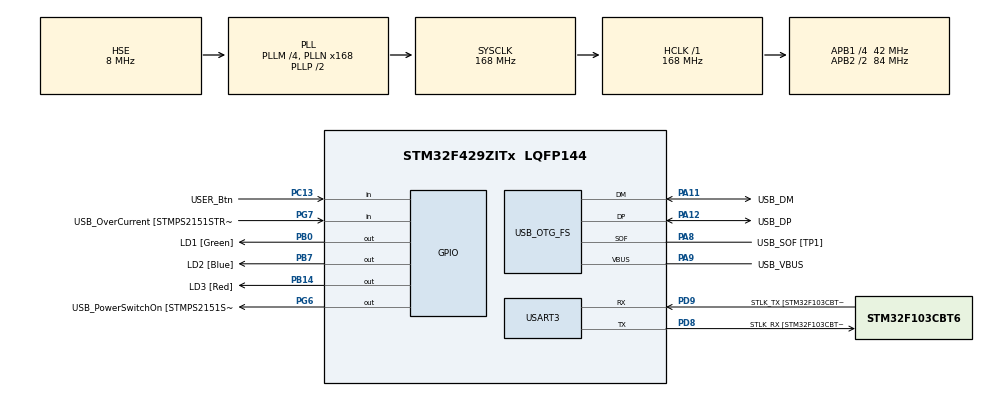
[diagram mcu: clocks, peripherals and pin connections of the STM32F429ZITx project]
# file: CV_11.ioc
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Mcu.Family=STM32F4
Mcu.Name=STM32F429ZITx
Mcu.Package=LQFP144
NVIC.OTG_FS_IRQn=true\:0\:0\:false\:false\:true\:false\:true\:true
NVIC.PriorityGroup=NVIC_PRIORITYGROUP_4
PA1.GPIO_Label=RMII_REF_CLK [LAN8742A-CZ-TR_REFCLK0]
PA1.Signal=ETH_REF_CLK
PA10.GPIO_Label=USB_ID
PA10.Signal=USB_OTG_FS_ID
PA11.GPIO_Label=USB_DM
PA11.Mode=Device_Only
PA11.Signal=USB_OTG_FS_DM
PA12.GPIO_Label=USB_DP
PA12.Mode=Device_Only
PA12.Signal=USB_OTG_FS_DP
PA13.GPIO_Label=TMS
PA13.Mode=Serial_Wire
PA13.Signal=SYS_JTMS-SWDIO
PA14.GPIO_Label=TCK
PA14.Mode=Serial_Wire
PA14.Signal=SYS_JTCK-SWCLK
PA2.GPIO_Label=RMII_MDIO [LAN8742A-CZ-TR_MDIO]
PA2.Signal=ETH_MDIO
PA7.GPIO_Label=RMII_CRS_DV [LAN8742A-CZ-TR_CRS_DV]
PA7.Signal=ETH_CRS_DV
PA8.GPIO_Label=USB_SOF [TP1]
PA8.Mode=Activate_SOF_FS
PA8.Signal=USB_OTG_FS_SOF
PA9.GPIO_Label=USB_VBUS
PA9.Mode=Activate_VBUS
PA9.Signal=USB_OTG_FS_VBUS
PB0.GPIO_Label=LD1 [Green]
PB0.Signal=GPIO_Output
PB13.GPIO_Label=RMII_TXD1 [LAN8742A-CZ-TR_TXD1]
PB13.Signal=ETH_TXD1
PB14.GPIO_Label=LD3 [Red]
PB14.Signal=GPIO_Output
PB7.GPIO_Label=LD2 [Blue]
PB7.Signal=GPIO_Output
PC1.GPIO_Label=RMII_MDC [LAN8742A-CZ-TR_MDC]
PC1.Signal=ETH_MDC
PC13.GPIO_Label=USER_Btn
PC13.Signal=GPIO_Input
PC14/OSC32_IN.Mode=LSE-External-Oscillator
PC14/OSC32_IN.Signal=RCC_OSC32_IN
PC15/OSC32_OUT.Mode=LSE-External-Oscillator
PC15/OSC32_OUT.Signal=RCC_OSC32_OUT
PC4.GPIO_Label=RMII_RXD0 [LAN8742A-CZ-TR_RXD0]
PC4.Signal=ETH_RXD0
PC5.GPIO_Label=RMII_RXD1 [LAN8742A-CZ-TR_RXD1]
PC5.Signal=ETH_RXD1
PD8.GPIO_Label=STLK_RX [STM32F103CBT6_PA3]
PD8.Mode=Asynchronous
PD8.Signal=USART3_TX
PD9.GPIO_Label=STLK_TX [STM32F103CBT6_PA2]
PD9.Mode=Asynchronous
PD9.Signal=USART3_RX
PG11.GPIO_Label=RMII_TX_EN [LAN8742A-CZ-TR_TXEN]
PG11.Signal=ETH_TX_EN
PG13.GPIO_Label=RMII_TXD0 [LAN8742A-CZ-TR_TXD0]
PG13.Signal=ETH_TXD0
PG6.GPIO_Label=USB_PowerSwitchOn [STMPS2151STR_EN]
PG6.Signal=GPIO_Output
PG7.GPIO_Label=USB_OverCurrent [STMPS2151STR_FAULT]
PG7.Signal=GPIO_Input
PH0/OSC_IN.GPIO_Label=MCO [STM32F103CBT6_PA8]
PH0/OSC_IN.Mode=HSE-External-Clock-Source
PH0/OSC_IN.Signal=RCC_OSC_IN
PH1/OSC_OUT.Mode=HSE-External-Clock-Source
PH1/OSC_OUT.Signal=RCC_OSC_OUT
ProjectManager.HeapSize=0x200
ProjectManager.StackSize=0x400
ProjectManager.TargetToolchain=STM32CubeIDE
RCC.48MHZClocksFreq_Value=48000000
RCC.AHBFreq_Value=168000000
RCC.APB1CLKDivider=RCC_HCLK_DIV4
RCC.APB1Freq_Value=42000000
RCC.APB1TimFreq_Value=84000000
RCC.APB2CLKDivider=RCC_HCLK_DIV2
RCC.APB2Freq_Value=84000000
RCC.APB2TimCLKDivider=2
RCC.APB2TimFreq_Value=168000000
RCC.CortexFreq_Value=168000000
RCC.HCLKFreq_Value=168000000
RCC.HSE_VALUE=8000000
RCC.HSI_VALUE=16000000
RCC.PLLM=4
RCC.PLLMUL=RCC_PLL_MUL9
RCC.PLLN=168
RCC.PLLQ=7
RCC.PRESCALERUSB=RCC_USBCLKSOURCE_PLL_DIV1_5
RCC.SYSCLKFreq_VALUE=168000000
RCC.SYSCLKSource=RCC_SYSCLKSOURCE_PLLCLK
RCC.SYSCLKSourceVirtual=RCC_SYSCLKSOURCE_PLLCLK
RCC.USBFreq_Value=48000000
RCC.VCOOutputFreq_Value=336000000
USART3.VirtualMode=VM_ASYNC
USB_DEVICE.CLASS_NAME_FS=HID
USB_DEVICE.VirtualMode-HID_FS=Hid
USB_DEVICE.VirtualModeFS=Hid_FS
USB_OTG_FS.VirtualMode=Device_Only
VP_USB_DEVICE_VS_USB_DEVICE_HID_FS.Mode=HID_FS
board=NUCLEO-F429ZI

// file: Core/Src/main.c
/* USER CODE BEGIN Header */
/**
  ******************************************************************************
  * @file           : main.c
  * @brief          : Main program body
  ******************************************************************************
  * @attention
  *
  * Copyright (c) 2022 STMicroelectronics.
  * All rights reserved.
  *
  * This software is licensed under terms that can be found in the LICENSE file
  * in the root directory of this software component.
  * If no LICENSE file comes with this software, it is provided AS-IS.
  *
  ******************************************************************************
  */
/* USER CODE END Header */
#include "main.h"
#include "usb_device.h"

/* USER CODE BEGIN Includes */

#include "usbd_hid.h"
#include <math.h>
#include <stdbool.h>

/* USER CODE END Includes */

/* USER CODE BEGIN PTD */

extern USBD_HandleTypeDef hUsbDeviceFS;

/* USER CODE END PTD */

/* USER CODE BEGIN PD */
#define HID_MOUSE_REPORT_DESC_SIZE 101
/* USER CODE END PD */

UART_HandleTypeDef huart3;

void SystemClock_Config(void);
static void MX_GPIO_Init(void);
static void MX_USART3_UART_Init(void);
/* USER CODE BEGIN PFP */

void step(int x, int y, bool leftBtn)
{
	uint8_t buff[4];
	if(leftBtn) {
		buff[0] = 0x01; // stiskni leve tlacitko 0x00
	} else {
		buff[0] = 0x00;
	}

	buff[1] = (int8_t)(x); // posun v ose X
	buff[2] = (int8_t)(y); // posun v ose Y
	buff[3] = 0; // bez scrollu
	USBD_HID_SendReport(&hUsbDeviceFS, buff, sizeof(buff));
	HAL_Delay(USBD_HID_GetPollingInterval(&hUsbDeviceFS));

}

void circle(uint32_t radius)
{
	for(int i = 0; i < 101; i++){
		int32_t sx = 0;
		int32_t sy = 0;
		float x = radius * cos(M_PI*i/50);
		float y = radius * sin(M_PI*i/50);
		int32_t dx = sx - x;
		int32_t dy = sy - y;
		step(dx, dy, true);
		sx = sx - dx;
		sy = sy - dy;
	}
}

void halfCircle(uint32_t radius){
	for(int i = 0; i < 101; i++){
		bool butt = false;
		if(i < 25 || i > 75){
			butt = true;
		}else{
			butt = false;
		}
		int32_t sx = 0;
		int32_t sy = 0;
		float x = radius * cos(M_PI*i/50);
		float y = radius * sin(M_PI*i/50);
		int32_t dx = sx - x;
		int32_t dy = sy - y;
		step(dx, dy, butt);
		sx = sx - dx;
		sy = sy - dy;
	}
}

__ALIGN_BEGIN static uint8_t HID_MOUSE_ReportDesc[HID_MOUSE_REPORT_DESC_SIZE] __ALIGN_END =
{
		/* 47 */
		0x05, 0x01, // USAGE_PAGE (Generic Desktop)
		0x09, 0x06, // USAGE (Keyboard)
		0xa1, 0x01, // COLLECTION (Application)
		0x85, 0x01, // REPORT_ID (1)
		0x05, 0x07, // USAGE_PAGE (Keyboard)
		0x19, 0xe0, // USAGE_MINIMUM (Keyboard LeftControl)
		0x29, 0xe7, // USAGE_MAXIMUM (Keyboard Right GUI)
		0x15, 0x00, // LOGICAL_MINIMUM (0)
		0x25, 0x01, // LOGICAL_MAXIMUM (1)
		0x75, 0x01, // REPORT_SIZE (1)
		0x95, 0x08, // REPORT_COUNT (8)
		0x81, 0x02, // INPUT (Data,Var,Abs)
		0x95, 0x01, // REPORT_COUNT (1)
		0x75, 0x08, // REPORT_SIZE (8)
		0x81, 0x03, // INPUT (Cnst,Var,Abs)
		0x95, 0x06, // REPORT_COUNT (6)
		0x75, 0x08, // REPORT_SIZE (8)
		0x15, 0x00, // LOGICAL_MINIMUM (0)
		0x25, 0x65, // LOGICAL_MAXIMUM (101)
		0x05, 0x07, // USAGE_PAGE (Keyboard)
		0x19, 0x00, // USAGE_MINIMUM (Reserved (no event indicated))
		0x29, 0x65, // USAGE_MAXIMUM (Keyboard Application)
		0x81, 0x00, // INPUT (Data,Ary,Abs)
		0xc0, // END_COLLECTION
		/* 54 */
		0x05, 0x01, // USAGE_PAGE (Generic Desktop)
		0x09, 0x02, // USAGE (Mouse)
		0xa1, 0x01, // COLLECTION (Application)
		0x09, 0x01, // USAGE (Pointer)
		0xa1, 0x00, // COLLECTION (Physical)
		0x85, 0x02, // REPORT_ID (2)
		0x05, 0x09, // USAGE_PAGE (Button)
		0x19, 0x01, // USAGE_MINIMUM (Button 1)
		0x29, 0x03, // USAGE_MAXIMUM (Button 3)
		0x15, 0x00, // LOGICAL_MINIMUM (0)
		0x25, 0x01, // LOGICAL_MAXIMUM (1)
		0x95, 0x03, // REPORT_COUNT (3)
		0x75, 0x01, // REPORT_SIZE (1)
		0x81, 0x02, // INPUT (Data,Var,Abs)
		0x95, 0x01, // REPORT_COUNT (1)
		0x75, 0x05, // REPORT_SIZE (5)
		0x81, 0x03, // INPUT (Cnst,Var,Abs)
		0x05, 0x01, // USAGE_PAGE (Generic Desktop)
		0x09, 0x30, // USAGE (X)
		0x09, 0x31, // USAGE (Y)
		0x09, 0x38, // USAGE (Wheel)
		0x15, 0x81, // LOGICAL_MINIMUM (-127)
		0x25, 0x7f, // LOGICAL_MAXIMUM (127)
		0x75, 0x08, // REPORT_SIZE (8)
		0x95, 0x03, // REPORT_COUNT (3)
		0x81, 0x06, // INPUT (Data,Var,Rel)
		0xc0, // END_COLLECTION
		0xc0, // END_COLLECTION
};

/* USER CODE END PFP */

int main(void)
{

  /* MCU Configuration--------------------------------------------------------*/

  /* Reset of all peripherals, Initializes the Flash interface and the Systick. */
  HAL_Init();

  /* Configure the system clock */
  SystemClock_Config();

  /* Initialize all configured peripherals */
  MX_GPIO_Init();
  MX_USART3_UART_Init();
  MX_USB_DEVICE_Init();

  /* Infinite loop */
  while (1)
  {

    /* USER CODE BEGIN 3 */
	  if(HAL_GPIO_ReadPin(USER_Btn_GPIO_Port, USER_Btn_Pin) == GPIO_PIN_SET) {

		  circle(10);
		  step(0, 0, false);

		  step(-25, -100, false);
		  circle(2);
		  step(0, 0, false);

		  step(70, 0, false);
		  circle(2);
		  step(0, 0, false);

		  step(-35, 0, false);
		  step(0, 0, true);
		  step(0, 25, true);
		  step(0, 0, false);

		  step(0, 50, false);
		  halfCircle(7);
		  step(0, 0, false);
	  }
  }
  /* USER CODE END 3 */
}

void SystemClock_Config(void)
{
  RCC_OscInitTypeDef RCC_OscInitStruct = {0};
  RCC_ClkInitTypeDef RCC_ClkInitStruct = {0};

  /** Configure the main internal regulator output voltage
  */
  __HAL_RCC_PWR_CLK_ENABLE();
  __HAL_PWR_VOLTAGESCALING_CONFIG(PWR_REGULATOR_VOLTAGE_SCALE1);

  /** Initializes the RCC Oscillators according to the specified parameters
  * in the RCC_OscInitTypeDef structure.
  */
  RCC_OscInitStruct.OscillatorType = RCC_OSCILLATORTYPE_HSE;
  RCC_OscInitStruct.HSEState = RCC_HSE_BYPASS;
  RCC_OscInitStruct.PLL.PLLState = RCC_PLL_ON;
  RCC_OscInitStruct.PLL.PLLSource = RCC_PLLSOURCE_HSE;
  RCC_OscInitStruct.PLL.PLLM = 4;
  RCC_OscInitStruct.PLL.PLLN = 168;
  RCC_OscInitStruct.PLL.PLLP = RCC_PLLP_DIV2;
  RCC_OscInitStruct.PLL.PLLQ = 7;
  if (HAL_RCC_OscConfig(&RCC_OscInitStruct) != HAL_OK)
  {
    Error_Handler();
  }

  /** Initializes the CPU, AHB and APB buses clocks
  */
  RCC_ClkInitStruct.ClockType = RCC_CLOCKTYPE_HCLK|RCC_CLOCKTYPE_SYSCLK
                              |RCC_CLOCKTYPE_PCLK1|RCC_CLOCKTYPE_PCLK2;
  RCC_ClkInitStruct.SYSCLKSource = RCC_SYSCLKSOURCE_PLLCLK;
  RCC_ClkInitStruct.AHBCLKDivider = RCC_SYSCLK_DIV1;
  RCC_ClkInitStruct.APB1CLKDivider = RCC_HCLK_DIV4;
  RCC_ClkInitStruct.APB2CLKDivider = RCC_HCLK_DIV2;

  if (HAL_RCC_ClockConfig(&RCC_ClkInitStruct, FLASH_LATENCY_5) != HAL_OK)
  {
    Error_Handler();
  }
}

static void MX_USART3_UART_Init(void)
{

  huart3.Instance = USART3;
  huart3.Init.BaudRate = 115200;
  huart3.Init.WordLength = UART_WORDLENGTH_8B;
  huart3.Init.StopBits = UART_STOPBITS_1;
  huart3.Init.Parity = UART_PARITY_NONE;
  huart3.Init.Mode = UART_MODE_TX_RX;
  huart3.Init.HwFlowCtl = UART_HWCONTROL_NONE;
  huart3.Init.OverSampling = UART_OVERSAMPLING_16;
  if (HAL_UART_Init(&huart3) != HAL_OK)
  {
    Error_Handler();
  }

}

static void MX_GPIO_Init(void)
{
  GPIO_InitTypeDef GPIO_InitStruct = {0};

  /* GPIO Ports Clock Enable */
  __HAL_RCC_GPIOC_CLK_ENABLE();
  __HAL_RCC_GPIOH_CLK_ENABLE();
  __HAL_RCC_GPIOA_CLK_ENABLE();
  __HAL_RCC_GPIOB_CLK_ENABLE();
  __HAL_RCC_GPIOD_CLK_ENABLE();
  __HAL_RCC_GPIOG_CLK_ENABLE();

  /*Configure GPIO pin Output Level */
  HAL_GPIO_WritePin(GPIOB, LD1_Pin|LD3_Pin|LD2_Pin, GPIO_PIN_RESET);

  /*Configure GPIO pin Output Level */
  HAL_GPIO_WritePin(USB_PowerSwitchOn_GPIO_Port, USB_PowerSwitchOn_Pin, GPIO_PIN_RESET);

  /*Configure GPIO pin : USER_Btn_Pin */
  GPIO_InitStruct.Pin = USER_Btn_Pin;
  GPIO_InitStruct.Mode = GPIO_MODE_INPUT;
  GPIO_InitStruct.Pull = GPIO_NOPULL;
  HAL_GPIO_Init(USER_Btn_GPIO_Port, &GPIO_InitStruct);

  /*Configure GPIO pins : RMII_MDC_Pin RMII_RXD0_Pin RMII_RXD1_Pin */
  GPIO_InitStruct.Pin = RMII_MDC_Pin|RMII_RXD0_Pin|RMII_RXD1_Pin;
  GPIO_InitStruct.Mode = GPIO_MODE_AF_PP;
  GPIO_InitStruct.Pull = GPIO_NOPULL;
  GPIO_InitStruct.Speed = GPIO_SPEED_FREQ_VERY_HIGH;
  GPIO_InitStruct.Alternate = GPIO_AF11_ETH;
  HAL_GPIO_Init(GPIOC, &GPIO_InitStruct);

  /*Configure GPIO pins : RMII_REF_CLK_Pin RMII_MDIO_Pin RMII_CRS_DV_Pin */
  GPIO_InitStruct.Pin = RMII_REF_CLK_Pin|RMII_MDIO_Pin|RMII_CRS_DV_Pin;
  GPIO_InitStruct.Mode = GPIO_MODE_AF_PP;
  GPIO_InitStruct.Pull = GPIO_NOPULL;
  GPIO_InitStruct.Speed = GPIO_SPEED_FREQ_VERY_HIGH;
  GPIO_InitStruct.Alternate = GPIO_AF11_ETH;
  HAL_GPIO_Init(GPIOA, &GPIO_InitStruct);

  /*Configure GPIO pins : LD1_Pin LD3_Pin LD2_Pin */
  GPIO_InitStruct.Pin = LD1_Pin|LD3_Pin|LD2_Pin;
  GPIO_InitStruct.Mode = GPIO_MODE_OUTPUT_PP;
  GPIO_InitStruct.Pull = GPIO_NOPULL;
  GPIO_InitStruct.Speed = GPIO_SPEED_FREQ_LOW;
  HAL_GPIO_Init(GPIOB, &GPIO_InitStruct);

  /*Configure GPIO pin : RMII_TXD1_Pin */
  GPIO_InitStruct.Pin = RMII_TXD1_Pin;
  GPIO_InitStruct.Mode = GPIO_MODE_AF_PP;
  GPIO_InitStruct.Pull = GPIO_NOPULL;
  GPIO_InitStruct.Speed = GPIO_SPEED_FREQ_VERY_HIGH;
  GPIO_InitStruct.Alternate = GPIO_AF11_ETH;
  HAL_GPIO_Init(RMII_TXD1_GPIO_Port, &GPIO_InitStruct);

  /*Configure GPIO pin : USB_PowerSwitchOn_Pin */
  GPIO_InitStruct.Pin = USB_PowerSwitchOn_Pin;
  GPIO_InitStruct.Mode = GPIO_MODE_OUTPUT_PP;
  GPIO_InitStruct.Pull = GPIO_NOPULL;
  GPIO_InitStruct.Speed = GPIO_SPEED_FREQ_LOW;
  HAL_GPIO_Init(USB_PowerSwitchOn_GPIO_Port, &GPIO_InitStruct);

  /*Configure GPIO pin : USB_OverCurrent_Pin */
  GPIO_InitStruct.Pin = USB_OverCurrent_Pin;
  GPIO_InitStruct.Mode = GPIO_MODE_INPUT;
  GPIO_InitStruct.Pull = GPIO_NOPULL;
  HAL_GPIO_Init(USB_OverCurrent_GPIO_Port, &GPIO_InitStruct);

  /*Configure GPIO pins : RMII_TX_EN_Pin RMII_TXD0_Pin */
  GPIO_InitStruct.Pin = RMII_TX_EN_Pin|RMII_TXD0_Pin;
  GPIO_InitStruct.Mode = GPIO_MODE_AF_PP;
  GPIO_InitStruct.Pull = GPIO_NOPULL;
  GPIO_InitStruct.Speed = GPIO_SPEED_FREQ_VERY_HIGH;
  GPIO_InitStruct.Alternate = GPIO_AF11_ETH;
  HAL_GPIO_Init(GPIOG, &GPIO_InitStruct);

}

void Error_Handler(void)
{
  __disable_irq();
  while (1)
  {
  }
}
